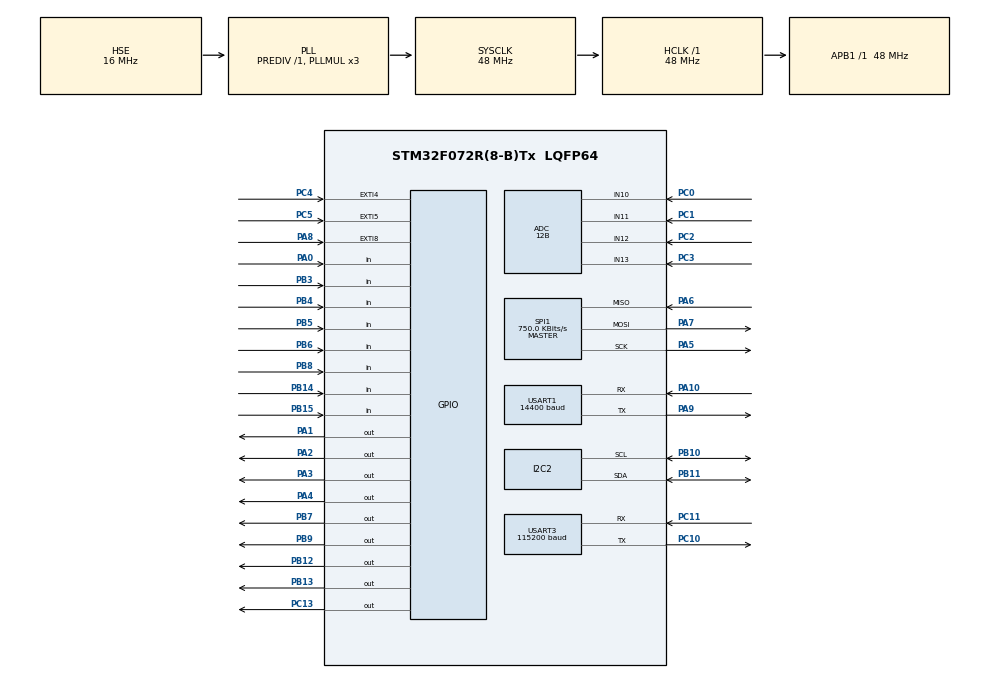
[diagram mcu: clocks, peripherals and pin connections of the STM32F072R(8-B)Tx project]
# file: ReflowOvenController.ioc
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ADC.ClockPrescaler=ADC_CLOCK_ASYNC_DIV1
ADC.ContinuousConvMode=DISABLE
ADC.DMAContinuousRequests=DISABLE
ADC.DataAlign=ADC_DATAALIGN_RIGHT
ADC.DiscontinuousConvMode=DISABLE
ADC.EOCSelection=ADC_EOC_SINGLE_CONV
ADC.EnableAnalogWatchDog=false
ADC.ExternalTrigConv=ADC_SOFTWARE_START
ADC.ExternalTrigConvEdge=ADC_EXTERNALTRIGCONVEDGE_NONE
ADC.LowPowerAutoPowerOff=DISABLE
ADC.LowPowerAutoWait=DISABLE
ADC.Overrun=ADC_OVR_DATA_PRESERVED
ADC.Resolution=ADC_RESOLUTION_12B
ADC.SamplingTime=ADC_SAMPLETIME_1CYCLE_5
ADC.ScanConvMode=ADC_SCAN_DIRECTION_FORWARD
Dma.Request0=SPI1_TX
Dma.Request1=SPI1_RX
Dma.Request2=USART1_TX
Dma.Request3=USART1_RX
Dma.Request4=USART3_TX
Dma.Request5=USART3_RX
Dma.SPI1_RX.1.Direction=DMA_PERIPH_TO_MEMORY
Dma.SPI1_RX.1.Instance=DMA1_Channel2
Dma.SPI1_RX.1.MemDataAlignment=DMA_MDATAALIGN_BYTE
Dma.SPI1_RX.1.MemInc=DMA_MINC_ENABLE
Dma.SPI1_RX.1.Mode=DMA_NORMAL
Dma.SPI1_RX.1.PeriphDataAlignment=DMA_PDATAALIGN_BYTE
Dma.SPI1_RX.1.PeriphInc=DMA_PINC_DISABLE
Dma.SPI1_RX.1.Priority=DMA_PRIORITY_MEDIUM
Dma.SPI1_TX.0.Direction=DMA_MEMORY_TO_PERIPH
Dma.SPI1_TX.0.Instance=DMA1_Channel3
Dma.SPI1_TX.0.MemDataAlignment=DMA_MDATAALIGN_BYTE
Dma.SPI1_TX.0.MemInc=DMA_MINC_ENABLE
Dma.SPI1_TX.0.Mode=DMA_NORMAL
Dma.SPI1_TX.0.PeriphDataAlignment=DMA_PDATAALIGN_BYTE
Dma.SPI1_TX.0.PeriphInc=DMA_PINC_DISABLE
Dma.SPI1_TX.0.Priority=DMA_PRIORITY_MEDIUM
Dma.USART1_RX.3.Direction=DMA_PERIPH_TO_MEMORY
Dma.USART1_RX.3.Instance=DMA1_Channel5
Dma.USART1_RX.3.MemDataAlignment=DMA_MDATAALIGN_BYTE
Dma.USART1_RX.3.MemInc=DMA_MINC_ENABLE
Dma.USART1_RX.3.Mode=DMA_NORMAL
Dma.USART1_RX.3.PeriphDataAlignment=DMA_PDATAALIGN_BYTE
Dma.USART1_RX.3.PeriphInc=DMA_PINC_DISABLE
Dma.USART1_RX.3.Priority=DMA_PRIORITY_MEDIUM
Dma.USART1_TX.2.Direction=DMA_MEMORY_TO_PERIPH
Dma.USART1_TX.2.Instance=DMA1_Channel4
Dma.USART1_TX.2.MemDataAlignment=DMA_MDATAALIGN_BYTE
Dma.USART1_TX.2.MemInc=DMA_MINC_ENABLE
Dma.USART1_TX.2.Mode=DMA_NORMAL
Dma.USART1_TX.2.PeriphDataAlignment=DMA_PDATAALIGN_BYTE
Dma.USART1_TX.2.PeriphInc=DMA_PINC_DISABLE
Dma.USART1_TX.2.Priority=DMA_PRIORITY_MEDIUM
Dma.USART3_RX.5.Direction=DMA_PERIPH_TO_MEMORY
Dma.USART3_RX.5.Instance=DMA1_Channel6
Dma.USART3_RX.5.MemDataAlignment=DMA_MDATAALIGN_BYTE
Dma.USART3_RX.5.MemInc=DMA_MINC_ENABLE
Dma.USART3_RX.5.Mode=DMA_NORMAL
Dma.USART3_RX.5.PeriphDataAlignment=DMA_PDATAALIGN_BYTE
Dma.USART3_RX.5.PeriphInc=DMA_PINC_DISABLE
Dma.USART3_RX.5.Priority=DMA_PRIORITY_MEDIUM
Dma.USART3_TX.4.Direction=DMA_MEMORY_TO_PERIPH
Dma.USART3_TX.4.Instance=DMA1_Channel7
Dma.USART3_TX.4.MemDataAlignment=DMA_MDATAALIGN_BYTE
Dma.USART3_TX.4.MemInc=DMA_MINC_ENABLE
Dma.USART3_TX.4.Mode=DMA_NORMAL
Dma.USART3_TX.4.PeriphDataAlignment=DMA_PDATAALIGN_BYTE
Dma.USART3_TX.4.PeriphInc=DMA_PINC_DISABLE
Dma.USART3_TX.4.Priority=DMA_PRIORITY_MEDIUM
FREERTOS.Mutexes01=mutex_uart1,Dynamic,NULL;mutex_uart3,Dynamic,NULL
FREERTOS.Tasks01=serialPortTask,1,256,start_serialport_task,Default,NULL,Dynamic,NULL,NULL;ssrThread,-2,128,start_ssr_thread,Default,NULL,Dynamic,NULL,NULL;displayThread,1,256,start_display_thread,Default,NULL,Dynamic,NULL,NULL;utilThread,-1,128,start_util_thread,Default,NULL,Dynamic,NULL,NULL
FREERTOS.configTOTAL_HEAP_SIZE=8192
I2C2.Timing=0x20303E5D
Mcu.Family=STM32F0
Mcu.Name=STM32F072R(8-B)Tx
Mcu.Package=LQFP64
NVIC.DMA1_Channel2_3_IRQn=true\:3\:0\:false\:false\:true\:true\:false
NVIC.DMA1_Channel4_5_6_7_IRQn=true\:3\:0\:false\:false\:true\:true\:false
NVIC.EXTI4_15_IRQn=true\:3\:0\:false\:false\:true\:true\:true
NVIC.TIM1_BRK_UP_TRG_COM_IRQn=true\:0\:0\:false\:false\:true\:false\:false
NVIC.TimeBase=TIM1_BRK_UP_TRG_COM_IRQn
NVIC.TimeBaseIP=TIM1
NVIC.USART1_IRQn=true\:3\:0\:false\:false\:true\:true\:true
NVIC.USART3_4_IRQn=true\:3\:0\:false\:false\:true\:true\:true
PA0.Signal=GPIO_Input
PA1.Signal=GPIO_Output
PA10.Mode=Asynchronous
PA10.Signal=USART1_RX
PA13.Mode=Serial_Wire
PA13.Signal=SYS_SWDIO
PA14.Mode=Serial_Wire
PA14.Signal=SYS_SWCLK
PA2.Signal=GPIO_Output
PA3.Signal=GPIO_Output
PA4.Signal=GPIO_Output
PA5.Mode=Full_Duplex_Master
PA5.Signal=SPI1_SCK
PA6.Mode=Full_Duplex_Master
PA6.Signal=SPI1_MISO
PA7.Mode=Full_Duplex_Master
PA7.Signal=SPI1_MOSI
PA8.GPIO_ModeDefaultEXTI=GPIO_MODE_IT_FALLING
PA8.Signal=GPXTI8
PA9.Mode=Asynchronous
PA9.Signal=USART1_TX
PB10.Mode=I2C
PB10.Signal=I2C2_SCL
PB11.Mode=I2C
PB11.Signal=I2C2_SDA
PB12.Signal=GPIO_Output
PB13.Signal=GPIO_Output
PB14.Signal=GPIO_Input
PB15.Signal=GPIO_Input
PB3.Signal=GPIO_Input
PB4.Signal=GPIO_Input
PB5.Signal=GPIO_Input
PB6.Signal=GPIO_Input
PB7.Signal=GPIO_Output
PB8.Signal=GPIO_Input
PB9.Signal=GPIO_Output
PC0.Mode=IN10
PC0.Signal=ADC_IN10
PC1.Mode=IN11
PC1.Signal=ADC_IN11
PC10.Mode=Asynchronous
PC10.Signal=USART3_TX
PC11.Mode=Asynchronous
PC11.Signal=USART3_RX
PC13.Signal=GPIO_Output
PC2.Mode=IN12
PC2.Signal=ADC_IN12
PC3.Mode=IN13
PC3.Signal=ADC_IN13
PC4.GPIO_ModeDefaultEXTI=GPIO_MODE_IT_FALLING
PC4.Signal=GPXTI4
PC5.GPIO_ModeDefaultEXTI=GPIO_MODE_IT_FALLING
PC5.Signal=GPXTI5
PF0-OSC_IN.Mode=HSE-External-Oscillator
PF0-OSC_IN.Signal=RCC_OSC_IN
PF1-OSC_OUT.Mode=HSE-External-Oscillator
PF1-OSC_OUT.Signal=RCC_OSC_OUT
ProjectManager.HeapSize=0x200
ProjectManager.StackSize=0x400
ProjectManager.TargetToolchain=TrueSTUDIO
RCC.AHBFreq_Value=48000000
RCC.APB1Freq_Value=48000000
RCC.APB1TimFreq_Value=48000000
RCC.HCLKFreq_Value=48000000
RCC.HSE_VALUE=16000000
RCC.PLLMUL=RCC_PLL_MUL3
RCC.PLLSourceVirtual=RCC_PLLSOURCE_HSE
RCC.SYSCLKFreq_VALUE=48000000
RCC.SYSCLKSource=RCC_SYSCLKSOURCE_PLLCLK
SPI1.BaudRatePrescaler=SPI_BAUDRATEPRESCALER_64
SPI1.CLKPhase=SPI_PHASE_1EDGE
SPI1.CLKPolarity=SPI_POLARITY_LOW
SPI1.CalculateBaudRate=750.0 KBits/s
SPI1.DataSize=SPI_DATASIZE_8BIT
SPI1.Direction=SPI_DIRECTION_2LINES
SPI1.Mode=SPI_MODE_MASTER
SPI1.VirtualType=VM_MASTER
USART1.BaudRate=14400
USART1.VirtualMode-Asynchronous=VM_ASYNC
USART3.BaudRate=115200
USART3.VirtualMode-Asynchronous=VM_ASYNC
VP_FREERTOS_VS_ENABLE.Mode=Enabled
VP_RTC_VS_RTC_Activate.Mode=RTC_Enabled
VP_SYS_VS_tim1.Mode=TIM1
board=custom

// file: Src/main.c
/**
 ******************************************************************************
 * @file           : main.c
 * @brief          : Main program body
 ******************************************************************************
 * This notice applies to any and all portions of this file
 * that are not between comment pairs USER CODE BEGIN and
 * USER CODE END. Other portions of this file, whether
 * inserted by the user or by software development tools
 * are owned by their respective copyright owners.
 *
 * Copyright (c) 2019 STMicroelectronics International N.V.
 * All rights reserved.
 *
 * Redistribution and use in source and binary forms, with or without
 * modification, are permitted, provided that the following conditions are met:
 *
 * 1. Redistribution of source code must retain the above copyright notice,
 *    this list of conditions and the following disclaimer.
 * 2. Redistributions in binary form must reproduce the above copyright notice,
 *    this list of conditions and the following disclaimer in the documentation
 *    and/or other materials provided with the distribution.
 * 3. Neither the name of STMicroelectronics nor the names of other
 *    contributors to this software may be used to endorse or promote products
 *    derived from this software without specific written permission.
 * 4. This software, including modifications and/or derivative works of this
 *    software, must execute solely and exclusively on microcontroller or
 *    microprocessor devices manufactured by or for STMicroelectronics.
 * 5. Redistribution and use of this software other than as permitted under
 *    this license is void and will automatically terminate your rights under
 *    this license.
 *
 * THIS SOFTWARE IS PROVIDED BY STMICROELECTRONICS AND CONTRIBUTORS "AS IS"
 * AND ANY EXPRESS, IMPLIED OR STATUTORY WARRANTIES, INCLUDING, BUT NOT
 * LIMITED TO, THE IMPLIED WARRANTIES OF MERCHANTABILITY, FITNESS FOR A
 * PARTICULAR PURPOSE AND NON-INFRINGEMENT OF THIRD PARTY INTELLECTUAL PROPERTY
 * RIGHTS ARE DISCLAIMED TO THE FULLEST EXTENT PERMITTED BY LAW. IN NO EVENT
 * SHALL STMICROELECTRONICS OR CONTRIBUTORS BE LIABLE FOR ANY DIRECT, INDIRECT,
 * INCIDENTAL, SPECIAL, EXEMPLARY, OR CONSEQUENTIAL DAMAGES (INCLUDING, BUT NOT
 * LIMITED TO, PROCUREMENT OF SUBSTITUTE GOODS OR SERVICES; LOSS OF USE, DATA,
 * OR PROFITS; OR BUSINESS INTERRUPTION) HOWEVER CAUSED AND ON ANY THEORY OF
 * LIABILITY, WHETHER IN CONTRACT, STRICT LIABILITY, OR TORT (INCLUDING
 * NEGLIGENCE OR OTHERWISE) ARISING IN ANY WAY OUT OF THE USE OF THIS SOFTWARE,
 * EVEN IF ADVISED OF THE POSSIBILITY OF SUCH DAMAGE.
 *
 ******************************************************************************
 */
#include "main.h"
#include "stm32f0xx_hal.h"
#include "cmsis_os.h"

/* USER CODE BEGIN Includes */
#include "roc/debug.h"
#include "roc/display.h"
#include "roc/menu.h"
#include "roc/tc.h"
#include "roc/tempctrl.h"
#include <string.h>
/* USER CODE END Includes */

ADC_HandleTypeDef hadc;

I2C_HandleTypeDef hi2c2;

RTC_HandleTypeDef hrtc;

SPI_HandleTypeDef hspi1;
DMA_HandleTypeDef hdma_spi1_tx;
DMA_HandleTypeDef hdma_spi1_rx;

UART_HandleTypeDef huart1;
UART_HandleTypeDef huart3;
DMA_HandleTypeDef hdma_usart1_tx;
DMA_HandleTypeDef hdma_usart1_rx;
DMA_HandleTypeDef hdma_usart3_tx;
DMA_HandleTypeDef hdma_usart3_rx;

osThreadId serialPortTaskHandle;
osThreadId ssrThreadHandle;
osThreadId displayThreadHandle;
osThreadId utilThreadHandle;
osMutexId mutex_uart1Handle;
osMutexId mutex_uart3Handle;

/* USER CODE BEGIN PV */
/* Private variables ---------------------------------------------------------*/
uint8_t error_code = 0x00;

uint16_t ssr_counter = 0;
/* USER CODE END PV */

void SystemClock_Config(void);
static void MX_GPIO_Init(void);
static void MX_DMA_Init(void);
static void MX_ADC_Init(void);
static void MX_I2C2_Init(void);
static void MX_SPI1_Init(void);
static void MX_USART1_UART_Init(void);
static void MX_USART3_UART_Init(void);
static void MX_RTC_Init(void);
void start_serialport_task(void const * argument);
void start_ssr_thread(void const * argument);
void start_display_thread(void const * argument);
void start_util_thread(void const * argument);

/* USER CODE BEGIN PFP */
/* Private function prototypes -----------------------------------------------*/

/* USER CODE END PFP */

int main(void)
{

	/* MCU Configuration----------------------------------------------------------*/

	/* Reset of all peripherals, Initializes the Flash interface and the Systick. */
	HAL_Init();

	/* Configure the system clock */
	SystemClock_Config();

	/* Initialize all configured peripherals */
	MX_GPIO_Init();
	MX_DMA_Init();
	MX_ADC_Init();
	MX_I2C2_Init();
	MX_SPI1_Init();
	MX_USART1_UART_Init();
	MX_USART3_UART_Init();
	MX_RTC_Init();
	/* USER CODE BEGIN 2 */

	// Init CSn of MAX31855
	HAL_GPIO_WritePin(GPIOA, GPIO_PIN_2, GPIO_PIN_SET);
	__NOP();
	HAL_GPIO_WritePin(GPIOA, GPIO_PIN_3, GPIO_PIN_SET);

	// Init debug.h
	debug_cons_init_handle(&huart3, mutex_uart3Handle);

	// Init display.h
	display_init(&hspi1, GPIOA, GPIO_PIN_1, GPIOB, GPIO_PIN_12, GPIOB,
	GPIO_PIN_12, GPIOA, GPIO_PIN_5, GPIOA, GPIO_PIN_7);

	// Init tc.h
	tc_init(&hspi1);

	/* USER CODE END 2 */

	/* Create the mutex(es) */
	/* definition and creation of mutex_uart1 */
	osMutexDef(mutex_uart1);
	mutex_uart1Handle = osMutexCreate(osMutex(mutex_uart1));

	/* definition and creation of mutex_uart3 */
	osMutexDef(mutex_uart3);
	mutex_uart3Handle = osMutexCreate(osMutex(mutex_uart3));

	/* Create the thread(s) */
	/* definition and creation of serialPortTask */
	osThreadDef(serialPortTask, start_serialport_task, osPriorityAboveNormal, 0,
			256);
	serialPortTaskHandle = osThreadCreate(osThread(serialPortTask), NULL);

	/* definition and creation of ssrThread */
	osThreadDef(ssrThread, start_ssr_thread, osPriorityLow, 0, 128);
	ssrThreadHandle = osThreadCreate(osThread(ssrThread), NULL);

	/* definition and creation of displayThread */
	osThreadDef(displayThread, start_display_thread, osPriorityAboveNormal, 0,
			256);
	displayThreadHandle = osThreadCreate(osThread(displayThread), NULL);

	/* definition and creation of utilThread */
	osThreadDef(utilThread, start_util_thread, osPriorityBelowNormal, 0, 128);
	utilThreadHandle = osThreadCreate(osThread(utilThread), NULL);

	/* Start scheduler */
	osKernelStart();

	/* We should never get here as control is now taken by the scheduler */

	/* Infinite loop */
	while (1)
	{

	}

}

void SystemClock_Config(void)
{

	RCC_OscInitTypeDef RCC_OscInitStruct;
	RCC_ClkInitTypeDef RCC_ClkInitStruct;
	RCC_PeriphCLKInitTypeDef PeriphClkInit;

	/**Initializes the CPU, AHB and APB busses clocks
	 */
	RCC_OscInitStruct.OscillatorType = RCC_OSCILLATORTYPE_HSI14
			| RCC_OSCILLATORTYPE_LSI | RCC_OSCILLATORTYPE_HSE;
	RCC_OscInitStruct.HSEState = RCC_HSE_ON;
	RCC_OscInitStruct.HSI14State = RCC_HSI14_ON;
	RCC_OscInitStruct.HSI14CalibrationValue = 16;
	RCC_OscInitStruct.LSIState = RCC_LSI_ON;
	RCC_OscInitStruct.PLL.PLLState = RCC_PLL_ON;
	RCC_OscInitStruct.PLL.PLLSource = RCC_PLLSOURCE_HSE;
	RCC_OscInitStruct.PLL.PLLMUL = RCC_PLL_MUL3;
	RCC_OscInitStruct.PLL.PREDIV = RCC_PREDIV_DIV1;
	if (HAL_RCC_OscConfig(&RCC_OscInitStruct) != HAL_OK)
	{
		_Error_Handler(__FILE__, __LINE__);
	}

	/**Initializes the CPU, AHB and APB busses clocks
	 */
	RCC_ClkInitStruct.ClockType = RCC_CLOCKTYPE_HCLK | RCC_CLOCKTYPE_SYSCLK
			| RCC_CLOCKTYPE_PCLK1;
	RCC_ClkInitStruct.SYSCLKSource = RCC_SYSCLKSOURCE_PLLCLK;
	RCC_ClkInitStruct.AHBCLKDivider = RCC_SYSCLK_DIV1;
	RCC_ClkInitStruct.APB1CLKDivider = RCC_HCLK_DIV1;

	if (HAL_RCC_ClockConfig(&RCC_ClkInitStruct, FLASH_LATENCY_1) != HAL_OK)
	{
		_Error_Handler(__FILE__, __LINE__);
	}

	PeriphClkInit.PeriphClockSelection = RCC_PERIPHCLK_USART1
			| RCC_PERIPHCLK_RTC;
	PeriphClkInit.Usart1ClockSelection = RCC_USART1CLKSOURCE_PCLK1;
	PeriphClkInit.RTCClockSelection = RCC_RTCCLKSOURCE_LSI;
	if (HAL_RCCEx_PeriphCLKConfig(&PeriphClkInit) != HAL_OK)
	{
		_Error_Handler(__FILE__, __LINE__);
	}

	/**Configure the Systick interrupt time
	 */
	HAL_SYSTICK_Config(HAL_RCC_GetHCLKFreq() / 1000);

	/**Configure the Systick
	 */
	HAL_SYSTICK_CLKSourceConfig(SYSTICK_CLKSOURCE_HCLK);

	/* SysTick_IRQn interrupt configuration */
	HAL_NVIC_SetPriority(SysTick_IRQn, 3, 0);
}

/* ADC init function */
static void MX_ADC_Init(void)
{

	ADC_ChannelConfTypeDef sConfig;

	/**Configure the global features of the ADC (Clock, Resolution, Data Alignment and number of conversion)
	 */
	hadc.Instance = ADC1;
	hadc.Init.ClockPrescaler = ADC_CLOCK_ASYNC_DIV1;
	hadc.Init.Resolution = ADC_RESOLUTION_12B;
	hadc.Init.DataAlign = ADC_DATAALIGN_RIGHT;
	hadc.Init.ScanConvMode = ADC_SCAN_DIRECTION_FORWARD;
	hadc.Init.EOCSelection = ADC_EOC_SINGLE_CONV;
	hadc.Init.LowPowerAutoWait = DISABLE;
	hadc.Init.LowPowerAutoPowerOff = DISABLE;
	hadc.Init.ContinuousConvMode = DISABLE;
	hadc.Init.DiscontinuousConvMode = DISABLE;
	hadc.Init.ExternalTrigConv = ADC_SOFTWARE_START;
	hadc.Init.ExternalTrigConvEdge = ADC_EXTERNALTRIGCONVEDGE_NONE;
	hadc.Init.DMAContinuousRequests = DISABLE;
	hadc.Init.Overrun = ADC_OVR_DATA_PRESERVED;
	if (HAL_ADC_Init(&hadc) != HAL_OK)
	{
		_Error_Handler(__FILE__, __LINE__);
	}

	/**Configure for the selected ADC regular channel to be converted.
	 */
	sConfig.Channel = ADC_CHANNEL_10;
	sConfig.Rank = ADC_RANK_CHANNEL_NUMBER;
	sConfig.SamplingTime = ADC_SAMPLETIME_1CYCLE_5;
	if (HAL_ADC_ConfigChannel(&hadc, &sConfig) != HAL_OK)
	{
		_Error_Handler(__FILE__, __LINE__);
	}

	/**Configure for the selected ADC regular channel to be converted.
	 */
	sConfig.Channel = ADC_CHANNEL_11;
	if (HAL_ADC_ConfigChannel(&hadc, &sConfig) != HAL_OK)
	{
		_Error_Handler(__FILE__, __LINE__);
	}

	/**Configure for the selected ADC regular channel to be converted.
	 */
	sConfig.Channel = ADC_CHANNEL_12;
	if (HAL_ADC_ConfigChannel(&hadc, &sConfig) != HAL_OK)
	{
		_Error_Handler(__FILE__, __LINE__);
	}

	/**Configure for the selected ADC regular channel to be converted.
	 */
	sConfig.Channel = ADC_CHANNEL_13;
	if (HAL_ADC_ConfigChannel(&hadc, &sConfig) != HAL_OK)
	{
		_Error_Handler(__FILE__, __LINE__);
	}

}

/* I2C2 init function */
static void MX_I2C2_Init(void)
{

	hi2c2.Instance = I2C2;
	hi2c2.Init.Timing = 0x20303E5D;
	hi2c2.Init.OwnAddress1 = 0;
	hi2c2.Init.AddressingMode = I2C_ADDRESSINGMODE_7BIT;
	hi2c2.Init.DualAddressMode = I2C_DUALADDRESS_DISABLE;
	hi2c2.Init.OwnAddress2 = 0;
	hi2c2.Init.OwnAddress2Masks = I2C_OA2_NOMASK;
	hi2c2.Init.GeneralCallMode = I2C_GENERALCALL_DISABLE;
	hi2c2.Init.NoStretchMode = I2C_NOSTRETCH_DISABLE;
	if (HAL_I2C_Init(&hi2c2) != HAL_OK)
	{
		_Error_Handler(__FILE__, __LINE__);
	}

	/**Configure Analogue filter
	 */
	if (HAL_I2CEx_ConfigAnalogFilter(&hi2c2, I2C_ANALOGFILTER_ENABLE) != HAL_OK)
	{
		_Error_Handler(__FILE__, __LINE__);
	}

	/**Configure Digital filter
	 */
	if (HAL_I2CEx_ConfigDigitalFilter(&hi2c2, 0) != HAL_OK)
	{
		_Error_Handler(__FILE__, __LINE__);
	}

}

/* RTC init function */
static void MX_RTC_Init(void)
{

	/**Initialize RTC Only
	 */
	hrtc.Instance = RTC;
	hrtc.Init.HourFormat = RTC_HOURFORMAT_24;
	hrtc.Init.AsynchPrediv = 127;
	hrtc.Init.SynchPrediv = 255;
	hrtc.Init.OutPut = RTC_OUTPUT_DISABLE;
	hrtc.Init.OutPutPolarity = RTC_OUTPUT_POLARITY_HIGH;
	hrtc.Init.OutPutType = RTC_OUTPUT_TYPE_OPENDRAIN;
	if (HAL_RTC_Init(&hrtc) != HAL_OK)
	{
		_Error_Handler(__FILE__, __LINE__);
	}

}

/* SPI1 init function */
static void MX_SPI1_Init(void)
{

	/* SPI1 parameter configuration*/
	hspi1.Instance = SPI1;
	hspi1.Init.Mode = SPI_MODE_MASTER;
	hspi1.Init.Direction = SPI_DIRECTION_2LINES;
	hspi1.Init.DataSize = SPI_DATASIZE_8BIT;
	hspi1.Init.CLKPolarity = SPI_POLARITY_LOW;
	hspi1.Init.CLKPhase = SPI_PHASE_1EDGE;
	hspi1.Init.NSS = SPI_NSS_SOFT;
	hspi1.Init.BaudRatePrescaler = SPI_BAUDRATEPRESCALER_64;
	hspi1.Init.FirstBit = SPI_FIRSTBIT_MSB;
	hspi1.Init.TIMode = SPI_TIMODE_DISABLE;
	hspi1.Init.CRCCalculation = SPI_CRCCALCULATION_DISABLE;
	hspi1.Init.CRCPolynomial = 7;
	hspi1.Init.CRCLength = SPI_CRC_LENGTH_DATASIZE;
	hspi1.Init.NSSPMode = SPI_NSS_PULSE_ENABLE;
	if (HAL_SPI_Init(&hspi1) != HAL_OK)
	{
		_Error_Handler(__FILE__, __LINE__);
	}

}

/* USART1 init function */
static void MX_USART1_UART_Init(void)
{

	huart1.Instance = USART1;
	huart1.Init.BaudRate = 14400;
	huart1.Init.WordLength = UART_WORDLENGTH_8B;
	huart1.Init.StopBits = UART_STOPBITS_1;
	huart1.Init.Parity = UART_PARITY_NONE;
	huart1.Init.Mode = UART_MODE_TX_RX;
	huart1.Init.HwFlowCtl = UART_HWCONTROL_NONE;
	huart1.Init.OverSampling = UART_OVERSAMPLING_16;
	huart1.Init.OneBitSampling = UART_ONE_BIT_SAMPLE_DISABLE;
	huart1.AdvancedInit.AdvFeatureInit = UART_ADVFEATURE_NO_INIT;
	if (HAL_UART_Init(&huart1) != HAL_OK)
	{
		_Error_Handler(__FILE__, __LINE__);
	}

}

/* USART3 init function */
static void MX_USART3_UART_Init(void)
{

	huart3.Instance = USART3;
	huart3.Init.BaudRate = 115200;
	huart3.Init.WordLength = UART_WORDLENGTH_8B;
	huart3.Init.StopBits = UART_STOPBITS_1;
	huart3.Init.Parity = UART_PARITY_NONE;
	huart3.Init.Mode = UART_MODE_TX_RX;
	huart3.Init.HwFlowCtl = UART_HWCONTROL_NONE;
	huart3.Init.OverSampling = UART_OVERSAMPLING_16;
	huart3.Init.OneBitSampling = UART_ONE_BIT_SAMPLE_DISABLE;
	huart3.AdvancedInit.AdvFeatureInit = UART_ADVFEATURE_NO_INIT;
	if (HAL_UART_Init(&huart3) != HAL_OK)
	{
		_Error_Handler(__FILE__, __LINE__);
	}

}

static void MX_DMA_Init(void)
{
	/* DMA controller clock enable */
	__HAL_RCC_DMA1_CLK_ENABLE()
	;

	/* DMA interrupt init */
	/* DMA1_Channel2_3_IRQn interrupt configuration */
	HAL_NVIC_SetPriority(DMA1_Channel2_3_IRQn, 3, 0);
	HAL_NVIC_EnableIRQ(DMA1_Channel2_3_IRQn);
	/* DMA1_Channel4_5_6_7_IRQn interrupt configuration */
	HAL_NVIC_SetPriority(DMA1_Channel4_5_6_7_IRQn, 3, 0);
	HAL_NVIC_EnableIRQ(DMA1_Channel4_5_6_7_IRQn);

}

/** Configure pins as
 * Analog
 * Input
 * Output
 * EVENT_OUT
 * EXTI
 */
static void MX_GPIO_Init(void)
{

	GPIO_InitTypeDef GPIO_InitStruct;

	/* GPIO Ports Clock Enable */
	__HAL_RCC_GPIOC_CLK_ENABLE()
	;
	__HAL_RCC_GPIOF_CLK_ENABLE()
	;
	__HAL_RCC_GPIOA_CLK_ENABLE()
	;
	__HAL_RCC_GPIOB_CLK_ENABLE()
	;

	/*Configure GPIO pin Output Level */
	HAL_GPIO_WritePin(GPIOC, GPIO_PIN_13, GPIO_PIN_RESET);

	/*Configure GPIO pin Output Level */
	HAL_GPIO_WritePin(GPIOA, GPIO_PIN_1 | GPIO_PIN_2 | GPIO_PIN_3 | GPIO_PIN_4,
			GPIO_PIN_RESET);

	/*Configure GPIO pin Output Level */
	HAL_GPIO_WritePin(GPIOB,
	GPIO_PIN_12 | GPIO_PIN_13 | GPIO_PIN_7 | GPIO_PIN_9, GPIO_PIN_RESET);

	/*Configure GPIO pin : PC13 */
	GPIO_InitStruct.Pin = GPIO_PIN_13;
	GPIO_InitStruct.Mode = GPIO_MODE_OUTPUT_PP;
	GPIO_InitStruct.Pull = GPIO_NOPULL;
	GPIO_InitStruct.Speed = GPIO_SPEED_FREQ_LOW;
	HAL_GPIO_Init(GPIOC, &GPIO_InitStruct);

	/*Configure GPIO pin : PA0 */
	GPIO_InitStruct.Pin = GPIO_PIN_0;
	GPIO_InitStruct.Mode = GPIO_MODE_INPUT;
	GPIO_InitStruct.Pull = GPIO_NOPULL;
	HAL_GPIO_Init(GPIOA, &GPIO_InitStruct);

	/*Configure GPIO pins : PA1 PA2 PA3 PA4 */
	GPIO_InitStruct.Pin = GPIO_PIN_1 | GPIO_PIN_2 | GPIO_PIN_3 | GPIO_PIN_4;
	GPIO_InitStruct.Mode = GPIO_MODE_OUTPUT_PP;
	GPIO_InitStruct.Pull = GPIO_NOPULL;
	GPIO_InitStruct.Speed = GPIO_SPEED_FREQ_LOW;
	HAL_GPIO_Init(GPIOA, &GPIO_InitStruct);

	/*Configure GPIO pins : PC4 PC5 */
	GPIO_InitStruct.Pin = GPIO_PIN_4 | GPIO_PIN_5;
	GPIO_InitStruct.Mode = GPIO_MODE_IT_FALLING;
	GPIO_InitStruct.Pull = GPIO_NOPULL;
	HAL_GPIO_Init(GPIOC, &GPIO_InitStruct);

	/*Configure GPIO pins : PB12 PB13 PB7 PB9 */
	GPIO_InitStruct.Pin = GPIO_PIN_12 | GPIO_PIN_13 | GPIO_PIN_7 | GPIO_PIN_9;
	GPIO_InitStruct.Mode = GPIO_MODE_OUTPUT_PP;
	GPIO_InitStruct.Pull = GPIO_NOPULL;
	GPIO_InitStruct.Speed = GPIO_SPEED_FREQ_LOW;
	HAL_GPIO_Init(GPIOB, &GPIO_InitStruct);

	/*Configure GPIO pins : PB14 PB15 PB3 PB4
	 PB5 PB6 PB8 */
	GPIO_InitStruct.Pin = GPIO_PIN_14 | GPIO_PIN_15 | GPIO_PIN_3 | GPIO_PIN_4
			| GPIO_PIN_5 | GPIO_PIN_6 | GPIO_PIN_8;
	GPIO_InitStruct.Mode = GPIO_MODE_INPUT;
	GPIO_InitStruct.Pull = GPIO_NOPULL;
	HAL_GPIO_Init(GPIOB, &GPIO_InitStruct);

	/*Configure GPIO pin : PA8 */
	GPIO_InitStruct.Pin = GPIO_PIN_8;
	GPIO_InitStruct.Mode = GPIO_MODE_IT_FALLING;
	GPIO_InitStruct.Pull = GPIO_NOPULL;
	HAL_GPIO_Init(GPIOA, &GPIO_InitStruct);

	/* EXTI interrupt init*/
	HAL_NVIC_SetPriority(EXTI4_15_IRQn, 3, 0);
	HAL_NVIC_EnableIRQ(EXTI4_15_IRQn);

}

/* start_serialport_task function */
void start_serialport_task(void const * argument)
{

	/* USER CODE BEGIN 5 */
	debug_cons_println("[Kernel] Started serial port thread.");
	/* Infinite loop */
	for (;;)
	{
		osDelay(500);
	}
	/* USER CODE END 5 */
}

/* start_ssr_thread function */
void start_ssr_thread(void const * argument)
{
	/* USER CODE BEGIN start_ssr_thread */
	while (1)
	{
		if (ssr_counter >= 100) // 2.5s
		{
			tempctrl_ssr_tick();
			ssr_counter = 0;
		}
		tempctrl_tick();
		ssr_counter++;
		osDelay(25);
	}
	/* USER CODE END start_ssr_thread */
}

/* start_display_thread function */
void start_display_thread(void const * argument)
{
	/* USER CODE BEGIN start_display_thread */
	debug_cons_println("[Kernel] Started display / menu thread.");
	roc_menu_run_task();
	/* USER CODE END start_display_thread */
}

/* start_util_thread function */
void start_util_thread(void const * argument)
{
	/* USER CODE BEGIN start_util_thread */
	debug_cons_println("[Kernel] Started util thread.");
	// Check the error code and print the error if the error code is set (not 0x00 > error occurred)
	if (error_code == 0xFF)
		debug_cons_println(
				"[Init] GPIO status error 0xFF: Initialisation error.");
	else
		debug_cons_println("[Init] GPIO initialisation status OK.");
	// Infinite loop to stop thread from terminating and give freertos control of thread timing.
	for (;;)
	{
		osDelay(100);
	}
	/* USER CODE END start_util_thread */
}

void HAL_TIM_PeriodElapsedCallback(TIM_HandleTypeDef *htim)
{
	if (htim->Instance == TIM1)
	{
		HAL_IncTick();
	}
}

void _Error_Handler(char *file, int line)
{
	/* USER CODE BEGIN Error_Handler_Debug */
	/* User can add his own implementation to report the HAL error return state */
	HAL_GPIO_WritePin(GPIOB, GPIO_PIN_13, GPIO_PIN_SET); // Activate Pin PB13, error signal.
	error_code = 0xFF;
	/* USER CODE END Error_Handler_Debug */
}

/************************ (C) COPYRIGHT STMicroelectronics *****END OF FILE****/
